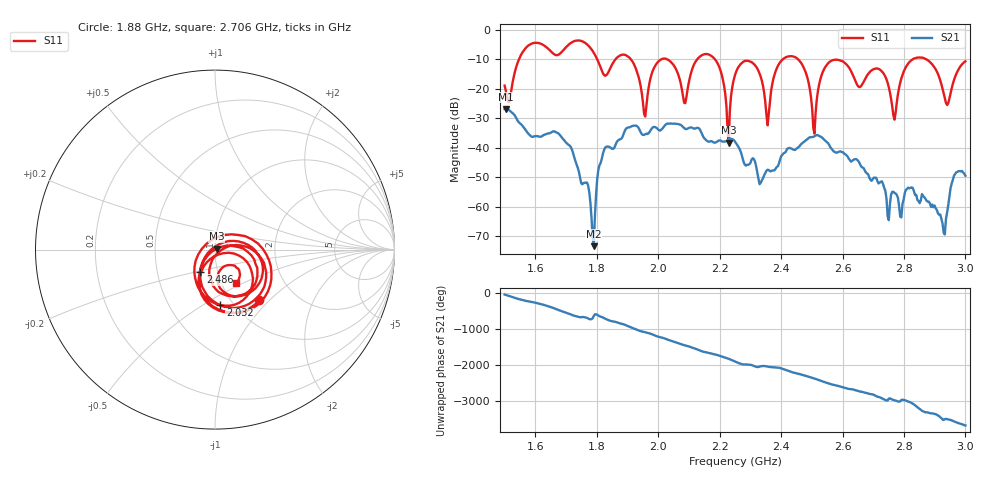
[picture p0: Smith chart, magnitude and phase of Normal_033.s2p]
# HZ S RI R 50
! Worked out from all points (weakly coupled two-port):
!   404 points, 1.5 GHz to 3 GHz, reference 50 ohm
!   highest |S21| = -26.85 dB at 1.504 GHz (marker M1); lowest = -73.4 dB at 1.79 GHz (marker M2)
!   lowest |S11| = -38.3 dB at 2.23 GHz (marker M3), VSWR 1.02, Z = 51.1 + j0.6 ohm
!   |S11| at or under -10 dB: 2.185 GHz to 2.406 GHz (220.8 MHz wide, 9.62 % of centre); 2.455 GHz to 2.828 GHz (373.1 MHz wide, 14.1 % of centre); 2.873 GHz to end of sweep (the widest 3 of 7)
!   S12 and S22 are empty: the file has one direction only
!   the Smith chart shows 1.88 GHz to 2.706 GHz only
!   S11 on the Smith chart (normalised r, x): 1.88 GHz: 1.33, -0.87; 2.032 GHz: 0.87, -0.60; 2.486 GHz: 0.82, -0.21; 2.706 GHz: 1.17, -0.46
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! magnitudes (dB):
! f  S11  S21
! 1.5 GHz  -18.9  -26.9
! 1.504 GHz  -20.6  -26.8
! 1.753 GHz  -3.9  -52.4
! 1.79 GHz  -7.8  -73.4
! 1.82 GHz  -14.7  -42.0
! 1.88 GHz  -8.5  -37.0
! 1.958 GHz  -29.4  -35.5
! 2.002 GHz  -10.6  -34.0
! 2.032 GHz  -10.2  -31.8
! 2.088 GHz  -24.9  -33.6
! 2.177 GHz  -9.2  -38.0
! 2.23 GHz  -38.3  -37.1
! 2.252 GHz  -14.8  -38.2
! 2.334 GHz  -15.9  -51.9
! 2.486 GHz  -16.5  -37.1
! 2.501 GHz  -26.8  -36.4
! 2.561 GHz  -10.7  -39.9
! 2.706 GHz  -13.2  -50.2
! 2.751 GHz  -19.4  -64.6
! 2.855 GHz  -9.4  -57.9
! 2.929 GHz  -21.5  -68.8
! 3 GHz  -10.7  -49.5
